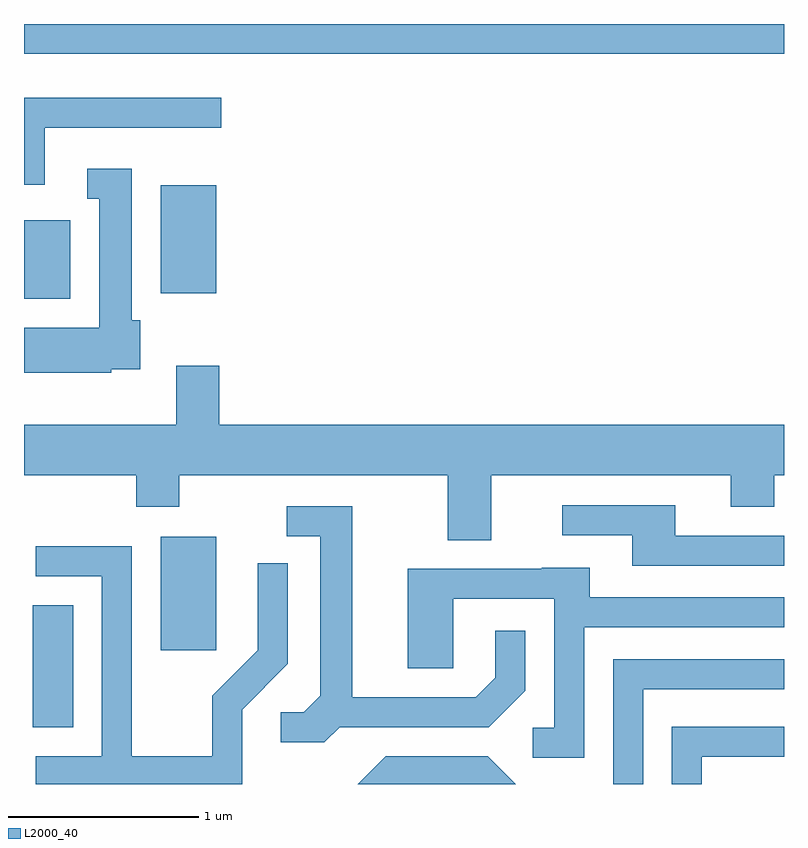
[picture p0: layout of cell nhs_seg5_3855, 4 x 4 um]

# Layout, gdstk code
import gdstk
lib = gdstk.Library(unit=1e-6, precision=1e-09)
def R(c, l, rs):  # rectangles x0, y0, x1, y1
    for r in rs: c.add(gdstk.rectangle(r[:2], r[2:], *l))
def P(c, l, *ps):  # polygons
    for p in ps: c.add(gdstk.Polygon(p, *l))
L2000_40 = (2000, 40)

nhs_seg5_3855 = lib.new_cell('nhs_seg5_3855')
R(nhs_seg5_3855, L2000_40, [(299.656,1444.371,299.869,1445.014), (300.331,1444.776,300.624,1445.374), (299.611,1446.626,299.854,1447.039), (300.331,1446.656,300.624,1447.224), (299.611,1447.916,303.611,1448.072)])
P(nhs_seg5_3855, L2000_40, [(299.719,1447.526),(300.648,1447.526),(300.648,1447.684),(299.611,1447.684),(299.611,1447.226),(299.719,1447.226)],
  [(300.069,1446.256),(300.224,1446.256),(300.224,1446.514),(300.179,1446.514),(300.179,1447.309),(299.943,1447.309),(299.943,1447.151),(300.006,1447.151),(300.006,1446.474),(299.611,1446.474),(299.611,1446.236),(300.069,1446.236)],
  [(302.069,1445.696),(303.331,1445.696),(303.331,1445.531),(303.559,1445.531),(303.559,1445.696),(303.611,1445.696),(303.611,1445.964),(300.639,1445.964),(300.639,1446.274),(300.411,1446.274),(300.411,1445.964),(299.611,1445.964),(299.611,1445.696),(300.201,1445.696),(300.201,1445.531),(300.429,1445.531),(300.429,1445.696),(301.841,1445.696),(301.841,1445.356),(302.069,1445.356)],
  [(303.611,1445.379),(303.039,1445.379),(303.039,1445.539),(302.443,1445.539),(302.443,1445.381),(302.811,1445.381),(302.811,1445.221),(303.611,1445.221)],
  [(301.272,1444.371),(302.057,1444.371),(302.249,1444.564),(302.249,1444.878),(302.091,1444.878),(302.091,1444.632),(301.989,1444.529),(301.339,1444.529),(301.339,1445.534),(300.993,1445.534),(300.993,1445.376),(301.171,1445.376),(301.171,1444.537),(301.084,1444.449),(300.963,1444.449),(300.963,1444.291),(301.192,1444.291)],
  [(300.759,1444.464),(300.999,1444.704),(300.999,1445.233),(300.841,1445.233),(300.841,1444.777),(300.601,1444.537),(300.601,1444.219),(300.179,1444.219),(300.179,1445.324),(299.673,1445.324),(299.673,1445.166),(300.021,1445.166),(300.021,1444.219),(299.673,1444.219),(299.673,1444.072),(300.759,1444.072)],
  [(302.559,1444.896),(303.611,1444.896),(303.611,1445.054),(302.589,1445.054),(302.589,1445.209),(302.335,1445.209),(302.335,1445.204),(301.631,1445.204),(301.631,1444.681),(301.869,1444.681),(301.869,1445.046),(302.401,1445.046),(302.401,1444.369),(302.288,1444.369),(302.288,1444.211),(302.559,1444.211)],
  [(302.869,1444.571),(303.611,1444.571),(303.611,1444.729),(302.711,1444.729),(302.711,1444.072),(302.869,1444.072)],
  [(303.179,1444.216),(303.611,1444.216),(303.611,1444.374),(303.021,1444.374),(303.021,1444.072),(303.179,1444.072)],
  [(302.052,1444.219),(301.514,1444.219),(301.367,1444.072),(302.199,1444.072)])

lib.write_gds('nhs_seg5_3855.gds')
